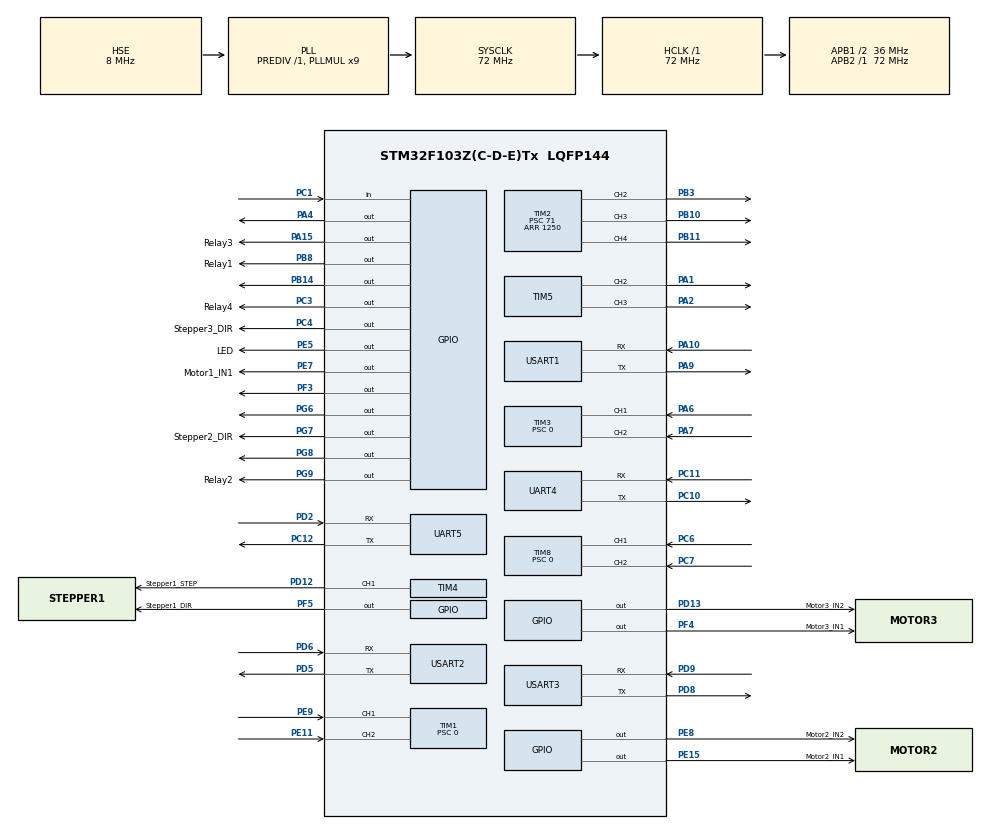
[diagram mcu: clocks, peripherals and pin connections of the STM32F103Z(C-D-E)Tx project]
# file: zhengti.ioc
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Mcu.Family=STM32F1
Mcu.Name=STM32F103Z(C-D-E)Tx
Mcu.Package=LQFP144
NVIC.PriorityGroup=NVIC_PRIORITYGROUP_4
NVIC.TIM2_IRQn=true\:0\:0\:false\:false\:true\:true\:true\:true
NVIC.TIM3_IRQn=true\:0\:0\:false\:false\:true\:true\:true\:true
NVIC.TIM4_IRQn=true\:0\:0\:false\:false\:true\:true\:true\:true
NVIC.TIM6_IRQn=true\:0\:0\:false\:false\:true\:true\:true\:true
NVIC.TIM7_IRQn=true\:0\:0\:false\:false\:true\:true\:true\:true
NVIC.TIM8_UP_IRQn=true\:0\:0\:false\:false\:true\:true\:true\:true
NVIC.USART1_IRQn=true\:0\:0\:false\:false\:true\:true\:true\:true
NVIC.USART2_IRQn=true\:0\:0\:false\:false\:true\:true\:true\:true
NVIC.USART3_IRQn=true\:0\:0\:false\:false\:true\:true\:true\:true
OSC_IN.Mode=HSE-External-Oscillator
OSC_IN.Signal=RCC_OSC_IN
OSC_OUT.Mode=HSE-External-Oscillator
OSC_OUT.Signal=RCC_OSC_OUT
PA1.Signal=S_TIM5_CH2
PA10.Mode=Asynchronous
PA10.Signal=USART1_RX
PA13.Mode=Serial_Wire
PA13.Signal=SYS_JTMS-SWDIO
PA14.Mode=Serial_Wire
PA14.Signal=SYS_JTCK-SWCLK
PA15.GPIO_Label=Relay3
PA15.Signal=GPIO_Output
PA2.Signal=S_TIM5_CH3
PA4.Signal=GPIO_Output
PA6.GPIO_PuPd=GPIO_PULLUP
PA6.Signal=S_TIM3_CH1
PA7.GPIO_PuPd=GPIO_PULLUP
PA7.Signal=S_TIM3_CH2
PA9.Mode=Asynchronous
PA9.Signal=USART1_TX
PB10.Signal=S_TIM2_CH3
PB11.Signal=S_TIM2_CH4
PB14.Signal=GPIO_Output
PB3.Signal=S_TIM2_CH2
PB8.GPIO_Label=Relay1
PB8.Signal=GPIO_Output
PC1.Signal=GPIO_Input
PC10.Mode=Asynchronous
PC10.Signal=UART4_TX
PC11.Mode=Asynchronous
PC11.Signal=UART4_RX
PC12.Mode=Asynchronous
PC12.Signal=UART5_TX
PC3.GPIO_Label=Relay4
PC3.Signal=GPIO_Output
PC4.GPIO_Label=Stepper3_DIR
PC4.Signal=GPIO_Output
PC6.GPIO_PuPd=GPIO_PULLUP
PC6.Signal=S_TIM8_CH1
PC7.GPIO_PuPd=GPIO_PULLUP
PC7.Signal=S_TIM8_CH2
PD12.GPIO_Label=Stepper1_STEP
PD12.Signal=S_TIM4_CH1
PD13.GPIO_Label=Motor3_IN2
PD13.Signal=GPIO_Output
PD2.Mode=Asynchronous
PD2.Signal=UART5_RX
PD5.Mode=Asynchronous
PD5.Signal=USART2_TX
PD6.Mode=Asynchronous
PD6.Signal=USART2_RX
PD8.Mode=Asynchronous
PD8.Signal=USART3_TX
PD9.Mode=Asynchronous
PD9.Signal=USART3_RX
PE11.GPIO_PuPd=GPIO_PULLUP
PE11.Signal=S_TIM1_CH2
PE15.GPIO_Label=Motor2_IN1
PE15.Signal=GPIO_Output
PE5.GPIO_Label=LED
PE5.Signal=GPIO_Output
PE7.GPIO_Label=Motor1_IN1
PE7.Signal=GPIO_Output
PE8.GPIO_Label=Motor2_IN2
PE8.Signal=GPIO_Output
PE9.GPIO_PuPd=GPIO_PULLUP
PE9.Signal=S_TIM1_CH1
PF3.Signal=GPIO_Output
PF4.GPIO_Label=Motor3_IN1
PF4.Signal=GPIO_Output
PF5.GPIO_Label=Stepper1_DIR
PF5.Signal=GPIO_Output
PG6.Signal=GPIO_Output
PG7.GPIO_Label=Stepper2_DIR
PG7.Signal=GPIO_Output
PG8.Signal=GPIO_Output
PG9.GPIO_Label=Relay2
PG9.Signal=GPIO_Output
ProjectManager.HeapSize=0x200
ProjectManager.StackSize=0x400
ProjectManager.TargetToolchain=MDK-ARM V5.32
RCC.AHBFreq_Value=72000000
RCC.APB1CLKDivider=RCC_HCLK_DIV2
RCC.APB1Freq_Value=36000000
RCC.APB1TimFreq_Value=72000000
RCC.APB2Freq_Value=72000000
RCC.APB2TimFreq_Value=72000000
RCC.HCLKFreq_Value=72000000
RCC.PLLMUL=RCC_PLL_MUL9
RCC.PLLSourceVirtual=RCC_PLLSOURCE_HSE
RCC.SYSCLKFreq_VALUE=72000000
RCC.SYSCLKSource=RCC_SYSCLKSOURCE_PLLCLK
RCC.USBFreq_Value=72000000
SH.S_TIM1_CH1.0=TIM1_CH1,Encoder_Interface
SH.S_TIM1_CH2.0=TIM1_CH2,Encoder_Interface
SH.S_TIM2_CH2.0=TIM2_CH2,PWM Generation2 CH2
SH.S_TIM2_CH3.0=TIM2_CH3,PWM Generation3 CH3
SH.S_TIM2_CH4.0=TIM2_CH4,PWM Generation4 CH4
SH.S_TIM3_CH1.0=TIM3_CH1,Encoder_Interface
SH.S_TIM3_CH2.0=TIM3_CH2,Encoder_Interface
SH.S_TIM4_CH1.0=TIM4_CH1,PWM Generation1 CH1
SH.S_TIM5_CH2.0=TIM5_CH2,PWM Generation2 CH2
SH.S_TIM5_CH3.0=TIM5_CH3,PWM Generation3 CH3
SH.S_TIM8_CH1.0=TIM8_CH1,Encoder_Interface
SH.S_TIM8_CH2.0=TIM8_CH2,Encoder_Interface
TIM1.Period=65535
TIM1.Prescaler=0
TIM2.Channel-PWM\ Generation2\ CH2=TIM_CHANNEL_2
TIM2.Channel-PWM\ Generation3\ CH3=TIM_CHANNEL_3
TIM2.Channel-PWM\ Generation4\ CH4=TIM_CHANNEL_4
TIM2.Period=1250
TIM2.Prescaler=71
TIM2.Pulse-PWM\ Generation3\ CH3=625
TIM3.Period=65535
TIM3.Prescaler=0
TIM4.AutoReloadPreload=TIM_AUTORELOAD_PRELOAD_ENABLE
TIM4.Channel-PWM\ Generation1\ CH1=TIM_CHANNEL_1
TIM4.Period=1000-1
TIM4.Prescaler=72-1
TIM4.Pulse-PWM\ Generation1\ CH1=500
TIM5.Channel-PWM\ Generation2\ CH2=TIM_CHANNEL_2
TIM5.Channel-PWM\ Generation3\ CH3=TIM_CHANNEL_3
TIM6.Period=999
TIM6.Prescaler=719
TIM7.Period=59999
TIM7.Prescaler=7199
TIM8.AutoReloadPreload=TIM_AUTORELOAD_PRELOAD_ENABLE
TIM8.Period=65535
TIM8.Prescaler=0
UART4.VirtualMode=Asynchronous
UART5.VirtualMode=Asynchronous
USART1.VirtualMode=VM_ASYNC
USART2.VirtualMode=VM_ASYNC
USART3.VirtualMode=VM_ASYNC
VP_TIM2_VS_ClockSourceINT.Mode=Internal
VP_TIM4_VS_ClockSourceINT.Mode=Internal
VP_TIM5_VS_ClockSourceINT.Mode=Internal
VP_TIM6_VS_ClockSourceINT.Mode=Enable_Timer
VP_TIM7_VS_ClockSourceINT.Mode=Enable_Timer
board=custom

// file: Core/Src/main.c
/* USER CODE BEGIN Header */
/**
  ******************************************************************************
  * @file           : main.c
  * @brief          : Main program body
  ******************************************************************************
  * @attention
  *
  * Copyright (c) 2026 STMicroelectronics.
  * All rights reserved.
  *
  * This software is licensed under terms that can be found in the LICENSE file
  * in the root directory of this software component.
  * If no LICENSE file comes with this software, it is provided AS-IS.
  *
  ******************************************************************************
  */
/* USER CODE END Header */
#include "main.h"
#include "tim.h"
#include "usart.h"
#include "gpio.h"

/* USER CODE BEGIN Includes */
#include "value.h"
#include "task.h"
/* USER CODE END Includes */

void SystemClock_Config(void);

/* USER CODE BEGIN 0 */
/* Watch: net grams, INT32_MIN until the first sample. */
volatile int32_t hx711_weight_g = INT32_MIN;
static int32_t hx711_tare;
static uint8_t hx711_has_tare;

static void HX711_Init(void)
{
  GPIO_InitTypeDef pin = {0};

  __HAL_RCC_GPIOA_CLK_ENABLE();
  __HAL_RCC_GPIOC_CLK_ENABLE();
  HAL_GPIO_WritePin(GPIOA, GPIO_PIN_11, GPIO_PIN_RESET);
  pin.Pin = GPIO_PIN_11;
  pin.Mode = GPIO_MODE_OUTPUT_PP;
  pin.Speed = GPIO_SPEED_FREQ_LOW;
  HAL_GPIO_Init(GPIOA, &pin);

  pin.Pin = GPIO_PIN_1;
  pin.Mode = GPIO_MODE_INPUT;
  pin.Pull = GPIO_PULLUP;
  HAL_GPIO_Init(GPIOC, &pin);
}

static void HX711_Update(void)
{
  uint32_t bits = 0;
  uint32_t irq_state;
  int32_t sample;
  uint8_t i;

  if (HAL_GPIO_ReadPin(GPIOC, GPIO_PIN_1) != GPIO_PIN_RESET)
    return;

  /* Keep interruptions from extending SCK high into power-down. */
  irq_state = __get_PRIMASK();
  __disable_irq();
  for (i = 0; i < 25; ++i)
  {
    HAL_GPIO_WritePin(GPIOA, GPIO_PIN_11, GPIO_PIN_SET);
    if (i < 24)
      bits = (bits << 1) | (HAL_GPIO_ReadPin(GPIOC, GPIO_PIN_1) == GPIO_PIN_SET);
    HAL_GPIO_WritePin(GPIOA, GPIO_PIN_11, GPIO_PIN_RESET);
  }
  __set_PRIMASK(irq_state);

  sample = (int32_t)(bits ^ 0x800000u) - 0x800000;
  if (!hx711_has_tare)
  {
    hx711_tare = sample;
    hx711_has_tare = 1;
  }

  /* Counts per gram from the earlier project; recalibrate for this scale. */
  hx711_weight_g = (int32_t)((sample - hx711_tare) / 429.5f);
}

/* USER CODE END 0 */

int main(void)
{

  /* USER CODE BEGIN 1 */

  uint32_t tick;
  /* USER CODE END 1 */

  /* MCU Configuration--------------------------------------------------------*/

  /* Reset of all peripherals, Initializes the Flash interface and the Systick. */
  HAL_Init();

  /* Configure the system clock */
  SystemClock_Config();

  /* Initialize all configured peripherals */
  MX_GPIO_Init();
  MX_TIM1_Init();
  MX_TIM2_Init();
  MX_TIM3_Init();
  MX_TIM6_Init();
  MX_TIM7_Init();
  MX_TIM8_Init();
  MX_TIM4_Init();
  MX_USART1_UART_Init();
  MX_USART2_UART_Init();
  MX_USART3_UART_Init();
  MX_TIM5_Init();
  MX_UART4_Init();
  MX_UART5_Init();
  /* USER CODE BEGIN 2 */
  HX711_Init();
	INIT_ALL();
  tick = HAL_GetTick();
  /* USER CODE END 2 */

  /* Infinite loop */
  /* USER CODE BEGIN WHILE */
  while (1)
  {
    /* 50Hz 任务调度 */
    if (HAL_GetTick() - tick < TASK_PERIOD_MS) continue;
    tick = HAL_GetTick();

    Task_Uart1();
    Task_Process();

    HX711_Update();
    /* USER CODE END WHILE */

  }
}

void SystemClock_Config(void)
{
  RCC_OscInitTypeDef RCC_OscInitStruct = {0};
  RCC_ClkInitTypeDef RCC_ClkInitStruct = {0};

  /** Initializes the RCC Oscillators according to the specified parameters
  * in the RCC_OscInitTypeDef structure.
  */
  RCC_OscInitStruct.OscillatorType = RCC_OSCILLATORTYPE_HSE;
  RCC_OscInitStruct.HSEState = RCC_HSE_ON;
  RCC_OscInitStruct.HSEPredivValue = RCC_HSE_PREDIV_DIV1;
  RCC_OscInitStruct.HSIState = RCC_HSI_ON;
  RCC_OscInitStruct.PLL.PLLState = RCC_PLL_ON;
  RCC_OscInitStruct.PLL.PLLSource = RCC_PLLSOURCE_HSE;
  RCC_OscInitStruct.PLL.PLLMUL = RCC_PLL_MUL9;
  if (HAL_RCC_OscConfig(&RCC_OscInitStruct) != HAL_OK)
  {
    Error_Handler();
  }

  /** Initializes the CPU, AHB and APB buses clocks
  */
  RCC_ClkInitStruct.ClockType = RCC_CLOCKTYPE_HCLK|RCC_CLOCKTYPE_SYSCLK
                              |RCC_CLOCKTYPE_PCLK1|RCC_CLOCKTYPE_PCLK2;
  RCC_ClkInitStruct.SYSCLKSource = RCC_SYSCLKSOURCE_PLLCLK;
  RCC_ClkInitStruct.AHBCLKDivider = RCC_SYSCLK_DIV1;
  RCC_ClkInitStruct.APB1CLKDivider = RCC_HCLK_DIV2;
  RCC_ClkInitStruct.APB2CLKDivider = RCC_HCLK_DIV1;

  if (HAL_RCC_ClockConfig(&RCC_ClkInitStruct, FLASH_LATENCY_2) != HAL_OK)
  {
    Error_Handler();
  }
}

void Error_Handler(void)
{
  __disable_irq();
  while (1)
  {
  }
}
